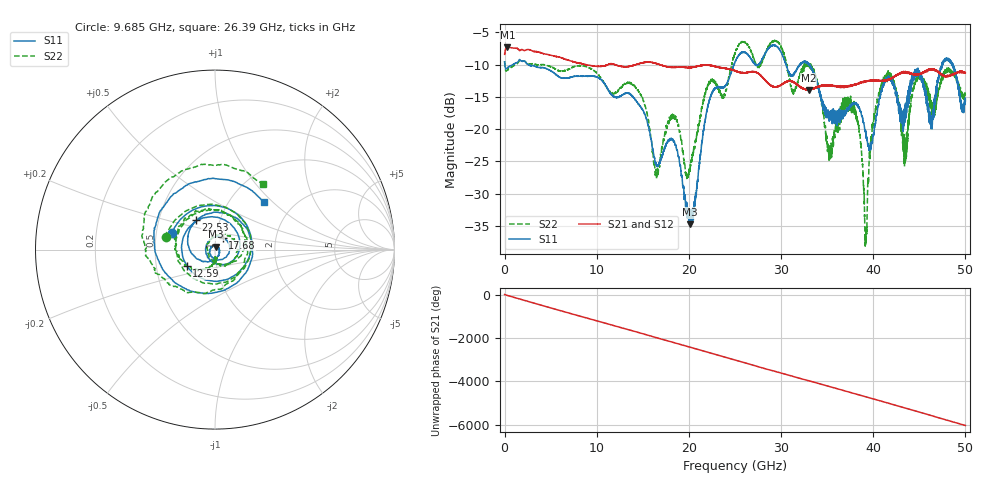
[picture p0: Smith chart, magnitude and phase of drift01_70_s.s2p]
!Created with skrf (http://scikit-rf.org).
# Hz S RI R 50.0
!freq ReS11 ImS11 ReS21 ImS21 ReS12 ImS12 ReS22 ImS22
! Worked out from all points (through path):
!   10001 points, 300 kHz to 50 GHz, reference 50 ohm
!   highest |S21| = -7.33 dB at 305.3 MHz (marker M1); lowest = -14.0 dB at 33.02 GHz (marker M2)
!   group delay of S21, straight-line fit = 335 ps
!   lowest |S11| = -34.7 dB at 20.14 GHz (marker M3), VSWR 1.04, Z = 50.7 + j1.72 ohm
!   |S11| at or under -10 dB: 2.558 GHz to 24.9 GHz (22.35 GHz wide, 163 % of centre); 30.53 GHz to 32.04 GHz (1.505 GHz wide, 4.81 % of centre); 33.07 GHz to 47.44 GHz (14.38 GHz wide, 35.7 % of centre) (the widest 3 of 25)
!   |S22| runs from -38.2 to -6.3 dB; largest |S21 - S12| = 0.01
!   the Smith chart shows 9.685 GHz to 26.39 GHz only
!   S11 on the Smith chart (normalised r, x): 9.685 GHz: 0.60, +0.12; 12.59 GHz: 0.72, -0.13; 17.68 GHz: 1.08, +0.14; 22.53 GHz: 0.77, +0.26; 26.39 GHz: 1.45, +0.88
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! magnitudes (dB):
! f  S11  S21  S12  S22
! 300 kHz  -9.6  -8.4  -8.5  -9.5
! 305.3 MHz  -10.5  -7.3  -7.3  -10.9
! 8.335 GHz  -11.8  -9.8  -9.9  -10.2
! 9.685 GHz  -11.8  -10.2  -10.2  -10.9
! 12.59 GHz  -14.8  -10.3  -10.2  -13.6
! 16.67 GHz  -25.8  -9.9  -9.9  -27.0
! 17.68 GHz  -22.0  -10.3  -10.3  -19.1
! 20.14 GHz  -34.7  -10.5  -10.5  -25.9
! 22.53 GHz  -14.2  -10.2  -10.2  -12.3
! 25 GHz  -9.6  -11.0  -11.0  -8.2
! 26.39 GHz  -8.4  -11.2  -11.2  -6.9
! 33.02 GHz  -9.8  -14.0  -13.8  -10.1
! 33.34 GHz  -10.7  -13.8  -13.8  -10.6
! 35.27 GHz  -17.6  -13.2  -13.2  -23.2
! 37.96 GHz  -15.9  -13.1  -13.1  -16.5
! 39.18 GHz  -20.4  -12.6  -12.6  -37.3
! 40.1 GHz  -20.3  -12.5  -12.5  -17.8
! 41.67 GHz  -11.8  -12.3  -12.3  -12.1
! 43.45 GHz  -17.8  -11.2  -11.2  -23.2
! 44.84 GHz  -10.7  -11.5  -11.6  -11.7
! 46.27 GHz  -19.9  -10.7  -10.7  -15.9
! 50 GHz  -15.7  -11.3  -11.3  -15.0
